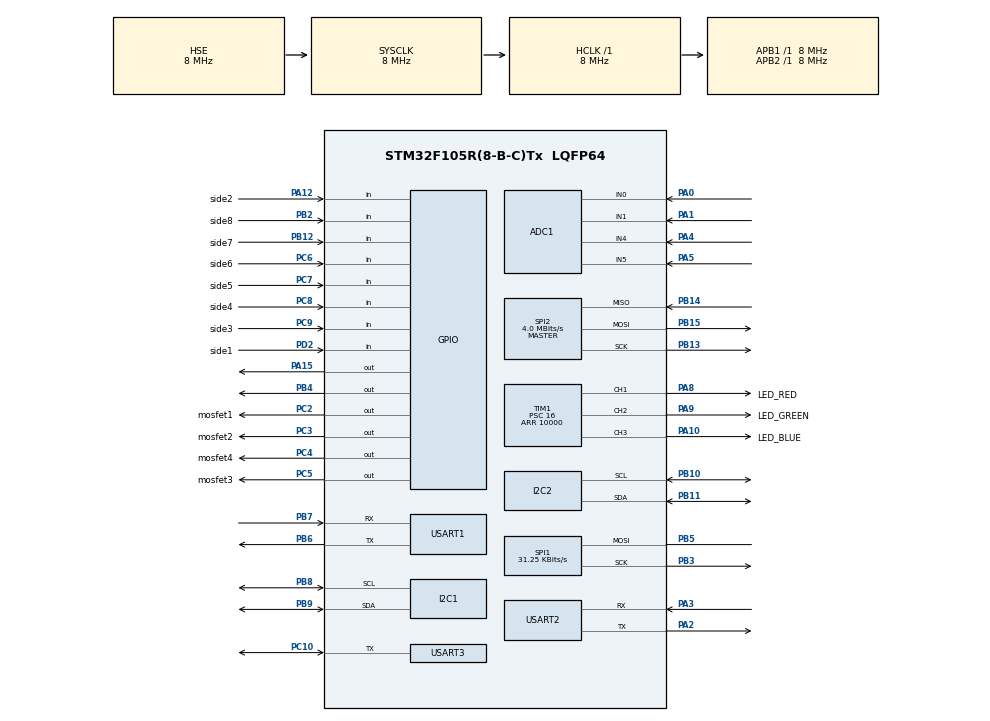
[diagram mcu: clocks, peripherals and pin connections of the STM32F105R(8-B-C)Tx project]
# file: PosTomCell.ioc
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Mcu.Family=STM32F1
NVIC.USART3_IRQn=true\:0\:0\:false\:false\:true\:true\:true
Dma.USART3_RX.0.PeriphInc=DMA_PINC_DISABLE
SPI1.VirtualType=VM_MASTER
SPI2.VirtualType=VM_MASTER
PB10.Mode=I2C
Dma.USART3_TX.1.MemInc=DMA_MINC_ENABLE
PC10.Signal=USART3_TX
Dma.USART3_TX.1.PeriphDataAlignment=DMA_PDATAALIGN_BYTE
PC6.GPIO_Label=side6
SH.SharedStack_PC6.0=GPIO_Input+0
SH.SharedStack_PC6.1=GPIO_Output
Dma.USART3_TX.1.Instance=DMA1_Channel2
PB11.Signal=I2C2_SDA
PB13.Signal=SPI2_SCK
PB15.Signal=SPI2_MOSI
RCC.SYSCLKSource=RCC_SYSCLKSOURCE_HSE
ProjectManager.StackSize=0x400
PD1-OSC_OUT.Signal=RCC_OSC_OUT
NVIC.DMA1_Channel3_IRQn=true\:0\:0\:false\:false\:true\:false\:true
PC7.Stacked=true
PA12.Signal=SharedStack_PA12
TIM1.Prescaler=16
SPI1.Direction=SPI_DIRECTION_1LINE
RCC.HCLKFreq_Value=8000000
RCC.APB2TimFreq_Value=8000000
TIM3.Period=200
PB6.Signal=USART1_TX
PC7.Signal=SharedStack_PC7
PB6.Mode=Asynchronous
SPI1.CalculateBaudRate=31.25 KBits/s
PC3.Signal=GPIO_Output
RCC.AHBFreq_Value=8000000
ADC1.Channel-0\#ChannelRegularConversion=ADC_CHANNEL_0
Dma.USART3_RX.0.MemDataAlignment=DMA_MDATAALIGN_BYTE
PB2.Signal=SharedStack_PB2
PB3.Mode=Simplex_Bidirectional_Master
Dma.USART3_TX.1.Mode=DMA_NORMAL
PC8.Stacked=true
PB12.GPIO_Label=side7
SH.SharedStack_PB12.0=GPIO_Input+0
SH.SharedStack_PB12.1=GPIO_Output
PC4.GPIO_Label=mosfet4
TIM1.Channel-PWM\ Generation1\ CH1=TIM_CHANNEL_1
SH.SharedStack_PB2.0=GPIO_Input+0
PA14.Mode=Serial_Wire
PB14.Mode=Full_Duplex_Master
SH.SharedStack_PB2.1=GPIO_Output
TIM3.Prescaler=16000
PB5.Mode=Simplex_Bidirectional_Master
NVIC.TIM2_IRQn=true\:0\:0\:false\:false\:true\:true\:true
SPI1.DataSize=SPI_DATASIZE_8BIT
PA10.GPIO_Label=LED_BLUE
Dma.USART3_RX.0.PeriphDataAlignment=DMA_PDATAALIGN_BYTE
SPI2.CalculateBaudRate=4.0 MBits/s
PB7.Signal=USART1_RX
PA8.Signal=S_TIM1_CH1
SH.ADCx_IN0.0=ADC1_IN0,IN0
PA15.GPIO_ModeDefaultOutputPP=GPIO_MODE_OUTPUT_OD
PB2.GPIO_PuPd=GPIO_NOPULL
VP_TIM1_VS_ClockSourceINT.Mode=Internal
ADC1.SamplingTime-0\#ChannelRegularConversion=ADC_SAMPLETIME_1CYCLE_5
Dma.USART3_TX.1.Priority=DMA_PRIORITY_LOW
Dma.USART3_RX.0.Direction=DMA_PERIPH_TO_MEMORY
Mcu.Package=LQFP64
PB9.Signal=I2C1_SDA
TIM2.Prescaler=8000
SPI2.Mode=SPI_MODE_MASTER
USART2.VirtualMode=VM_ASYNC
PA10.Signal=S_TIM1_CH3
PA15.Signal=GPIO_Output
Dma.USART3_RX.0.MemInc=DMA_MINC_ENABLE
TIM2.TIM_MasterOutputTrigger=TIM_TRGO_RESET
SH.ADCx_IN1.0=ADC1_IN1,IN1
Dma.Request1=USART3_TX
RCC.APB1TimFreq_Value=8000000
SPI2.Direction=SPI_DIRECTION_2LINES
PC5.Signal=GPIO_Output
TIM1.Period=10000
PB13.Mode=Full_Duplex_Master
Dma.USART3_TX.1.PeriphInc=DMA_PINC_DISABLE
Dma.Request0=USART3_RX
SPI1.BaudRatePrescaler=SPI_BAUDRATEPRESCALER_256
PB2.GPIO_ModeDefaultOutputPP=GPIO_MODE_OUTPUT_OD
PC2.GPIO_Label=mosfet1
VP_TIM3_VS_ClockSourceINT.Mode=Internal
SH.SharedStack_PA12.1=GPIO_Output
PB4.Signal=GPIO_Output
SH.SharedStack_PA12.0=GPIO_Input+0
PA3.Signal=USART2_RX
Dma.USART3_RX.0.Instance=DMA1_Channel3
RCC.PLLSourceVirtual=RCC_PLLSOURCE_HSE
Dma.USART3_TX.1.MemDataAlignment=DMA_MDATAALIGN_BYTE
PC6.Stacked=true
ADC1.Rank-0\#ChannelRegularConversion=1
PD1-OSC_OUT.Mode=HSE-External-Oscillator
PC9.GPIO_Label=side3
PA9.GPIO_Label=LED_GREEN
PC8.Signal=SharedStack_PC8
PC2.Signal=GPIO_Output
PC4.Signal=GPIO_Output
PC6.Signal=SharedStack_PC6
PC10.Mode=Half_duplex(single_wire_mode)
PD0-OSC_IN.Signal=RCC_OSC_IN
PA12.GPIO_Label=side2
PD2.Stacked=true
PC9.Stacked=true
Dma.USART3_RX.0.Mode=DMA_NORMAL
PA0-WKUP.Signal=ADCx_IN0
PC8.GPIO_Label=side4
PA3.Mode=Asynchronous
PA13.Signal=SYS_JTMS-SWDIO
PA8.GPIO_Label=LED_RED
SH.S_TIM1_CH1.0=TIM1_CH1,PWM Generation1 CH1
SH.SharedStack_PD2.0=GPIO_Input+0
PB11.Mode=I2C
NVIC.DMA1_Channel2_IRQn=true\:0\:0\:false\:false\:true\:false\:true
ProjectManager.TargetToolchain=STM32CubeIDE
SH.SharedStack_PD2.1=GPIO_Output
PB9.Mode=I2C
PA9.Signal=S_TIM1_CH2
TIM1.Channel-PWM\ Generation2\ CH2=TIM_CHANNEL_2
SH.SharedStack_PC9.0=GPIO_Input+0
RCC.USBFreq_Value=21333333.333333332
SH.SharedStack_PC9.1=GPIO_Output
PA1.Signal=ADCx_IN1
PD0-OSC_IN.Mode=HSE-External-Oscillator
PB10.Signal=I2C2_SCL
PB14.Signal=SPI2_MISO
PA5.Signal=ADCx_IN5
board=custom
PA12.Stacked=true
PB15.Mode=Full_Duplex_Master
NVIC.TIM3_IRQn=true\:0\:0\:false\:false\:true\:true\:true
USART3.WordLength=WORDLENGTH_9B
PA15.PinState=GPIO_PIN_SET
RCC.APB2Freq_Value=8000000
SH.S_TIM1_CH2.0=TIM1_CH2,PWM Generation2 CH2
VP_TIM2_VS_ClockSourceINT.Mode=Internal
SPI1.Mode=SPI_MODE_MASTER
SH.ADCx_IN4.0=ADC1_IN4,IN4
TIM2.Period=1000
SH.SharedStack_PC8.0=GPIO_Input+0
SH.SharedStack_PC8.1=GPIO_Output
PA13.Mode=Serial_Wire
Mcu.Name=STM32F105R(8-B-C)Tx
PA2.Signal=USART2_TX
PC7.GPIO_Label=side5
PB3.Signal=SPI1_SCK
PA4.Signal=ADCx_IN4
RCC.SYSCLKFreq_VALUE=8000000
PB5.Signal=SPI1_MOSI
Dma.USART3_RX.0.Priority=DMA_PRIORITY_LOW
ADC1.master=1
PC5.GPIO_Label=mosfet3
USART3.VirtualMode=VM_ASYNC
USART1.VirtualMode=VM_ASYNC
PA15.GPIO_Speed=GPIO_SPEED_FREQ_MEDIUM
PB7.Mode=Asynchronous
PB2.Stacked=true
PA14.Signal=SYS_JTCK-SWCLK
PB2.GPIO_Label=side8
ProjectManager.HeapSize=0x200
SH.S_TIM1_CH3.0=TIM1_CH3,PWM Generation3 CH3
PB12.Stacked=true
SH.ADCx_IN5.0=ADC1_IN5,IN5
NVIC.PriorityGroup=NVIC_PRIORITYGROUP_4
ADC1.NbrOfConversionFlag=1
Dma.USART3_TX.1.Direction=DMA_MEMORY_TO_PERIPH
PB8.Mode=I2C
PA2.Mode=Asynchronous
PB8.Signal=I2C1_SCL
PC3.GPIO_Label=mosfet2
SH.SharedStack_PC7.1=GPIO_Output
PC9.Signal=SharedStack_PC9
TIM1.Channel-PWM\ Generation3\ CH3=TIM_CHANNEL_3
SH.SharedStack_PC7.0=GPIO_Input+0
PD2.Signal=SharedStack_PD2
RCC.APB1Freq_Value=8000000
PB12.Signal=SharedStack_PB12
PD2.GPIO_Label=side1
USART3.Parity=PARITY_ODD

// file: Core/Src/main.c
/* USER CODE BEGIN Header */
/**
 ******************************************************************************
 * @file           : main.c
 * @brief          : Main program body
 ******************************************************************************
 * @attention
 *
 * <h2><center>&copy; Copyright (c) 2020 STMicroelectronics.
 * All rights reserved.</center></h2>
 *
 * This software component is licensed by ST under BSD 3-Clause license,
 * the "License"; You may not use this file except in compliance with the
 * License. You may obtain a copy of the License at:
 *                        opensource.org/licenses/BSD-3-Clause
 *
 ******************************************************************************
 */
/* USER CODE END Header */
#include "main.h"

/* USER CODE BEGIN Includes */
#include "ledOutput.h"
#include "processProtocolSW.h"
/* USER CODE END Includes */

/* USER CODE BEGIN PD */
#define BUFSIZE 12 //8 for address, 2 for cmd, 2 for param
#define CELLNUMB 1
/* USER CODE END PD */

ADC_HandleTypeDef hadc1;

I2C_HandleTypeDef hi2c1;
I2C_HandleTypeDef hi2c2;

SPI_HandleTypeDef hspi1;
SPI_HandleTypeDef hspi2;

TIM_HandleTypeDef htim1;
TIM_HandleTypeDef htim2;
TIM_HandleTypeDef htim3;

UART_HandleTypeDef huart1;
UART_HandleTypeDef huart2;
UART_HandleTypeDef huart3;
DMA_HandleTypeDef hdma_usart3_rx;
DMA_HandleTypeDef hdma_usart3_tx;

/* USER CODE BEGIN PV */
uint8_t tx_buff[BUFSIZE];
uint8_t rx_buff[BUFSIZE] = { 0, };

uint8_t cell_numb;

#if CELLNUMB == 1
	uint8_t address[8] = { 0xf0, 0xfc, 0xfb, 0xff, 0x12, 0xff, 0x33, 0xff };
	uint8_t sideAmount = 4;
	uint16_t sidePins[4] = {	side1_Pin,
								side2_Pin,
								side3_Pin,
								side4_Pin };
	GPIO_TypeDef* sidePorts[4] = { 	side1_GPIO_Port,
									side2_GPIO_Port,
									side3_GPIO_Port,
									side4_GPIO_Port };
	uint8_t sideconnections[4][8];
#elif CELLNUMB == 2
	uint8_t address[8] = { 0xff, 0xff, 0xaa, 0xff, 0xaa, 0xff, 0xaa, 0xff };
	uint8_t sideAmount = 6;
	uint16_t sidePins[6] = {	side1_Pin,
								side2_Pin,
								side3_Pin,
								side4_Pin,
								side5_Pin,
								side6_Pin};
	GPIO_TypeDef* sidePorts[6] = {	side1_GPIO_Port,
									side2_GPIO_Port,
									side3_GPIO_Port,
									side4_GPIO_Port,
									side5_GPIO_Port,
									side6_GPIO_Port};
	uint8_t sideconnections[6][8];
#elif CELLNUMB == 3
	uint8_t address[8] = { 0xff, 0xbf, 0xfa, 0x00, 0x00, 0xab, 0x00, 0xff };
	uint8_t sideAmount = 8;
	uint16_t sidePins[8] = {	side1_Pin,
								side2_Pin,
								side3_Pin,
								side4_Pin,
								side5_Pin,
								side7_Pin,
								side6_Pin,
								side8_Pin};
	GPIO_TypeDef* sidePorts[8] = {	side1_GPIO_Port,
									side2_GPIO_Port,
									side3_GPIO_Port,
									side4_GPIO_Port,
									side5_GPIO_Port,
									side7_GPIO_Port,
									side6_GPIO_Port,
									side8_GPIO_Port};
	uint8_t sideconnections[8][8];
#else
	uint8_t address[8] = { 0x00, 0x00, 0x00, 0x00, 0x00, 0x00, 0x00, 0x00 };
	uint8_t sideAmount = 1;
	uint16_t sidePins[1];
	uint16_t sidePorts[1];
	uint8_t sideconnections[1][8];
#endif
uint8_t activeNAddr[8];
uint16_t task = 0;
uint8_t reading_pin_nmb = 0;
uint8_t writing_pin_nmb = 0;
uint8_t write_read_side_flag = 0;
uint8_t tempData[2];
union {
	float f;
	uint8_t array[4];
} temp;

/* USER CODE END PV */

void SystemClock_Config(void);
static void MX_GPIO_Init(void);
static void MX_DMA_Init(void);
static void MX_I2C1_Init(void);
static void MX_I2C2_Init(void);
static void MX_SPI1_Init(void);
static void MX_SPI2_Init(void);
static void MX_TIM3_Init(void);
static void MX_USART1_UART_Init(void);
static void MX_USART2_UART_Init(void);
static void MX_ADC1_Init(void);
static void MX_TIM1_Init(void);
static void MX_TIM2_Init(void);
static void MX_USART3_UART_Init(void);

int main(void)
{

  /* MCU Configuration--------------------------------------------------------*/

  /* Reset of all peripherals, Initializes the Flash interface and the Systick. */
  HAL_Init();

  /* Configure the system clock */
  SystemClock_Config();

  /* Initialize all configured peripherals */
  MX_GPIO_Init();
  MX_DMA_Init();
  MX_I2C1_Init();
  MX_I2C2_Init();
  MX_SPI1_Init();
  MX_SPI2_Init();
  MX_TIM3_Init();
  MX_USART1_UART_Init();
  MX_USART2_UART_Init();
  MX_ADC1_Init();
  MX_TIM1_Init();
  MX_TIM2_Init();
  MX_USART3_UART_Init();
  /* USER CODE BEGIN 2 */
	HAL_TIM_PWM_Start(&htim1, TIM_CHANNEL_1);
	HAL_TIM_PWM_Start(&htim1, TIM_CHANNEL_2);
	HAL_TIM_PWM_Start(&htim1, TIM_CHANNEL_3);
	TIM1->CCR1 = 0;
	TIM1->CCR2 = 0;
	TIM1->CCR3 = 0;

	HAL_TIM_Base_Start_IT(&htim2);
  /* USER CODE END 2 */

  /* Infinite loop */
  /* USER CODE BEGIN WHILE */

	HAL_GPIO_WritePin(GPIOB, GPIO_PIN_4, 1);
	longBlinkPurple();

	HAL_HalfDuplex_EnableReceiver(&huart3);
	if (HAL_UART_Receive_DMA(&huart3, rx_buff, BUFSIZE) == !HAL_OK) {
		Error_Handler();
	}

	while (1) {

    /* USER CODE END WHILE */

	}
}

void SystemClock_Config(void)
{
  RCC_OscInitTypeDef RCC_OscInitStruct = {0};
  RCC_ClkInitTypeDef RCC_ClkInitStruct = {0};
  RCC_PeriphCLKInitTypeDef PeriphClkInit = {0};

  /** Initializes the RCC Oscillators according to the specified parameters
  * in the RCC_OscInitTypeDef structure.
  */
  RCC_OscInitStruct.OscillatorType = RCC_OSCILLATORTYPE_HSE;
  RCC_OscInitStruct.HSEState = RCC_HSE_ON;
  RCC_OscInitStruct.PLL.PLLState = RCC_PLL_NONE;
  RCC_OscInitStruct.PLL2.PLL2State = RCC_PLL_NONE;
  if (HAL_RCC_OscConfig(&RCC_OscInitStruct) != HAL_OK)
  {
    Error_Handler();
  }
  /** Initializes the CPU, AHB and APB buses clocks
  */
  RCC_ClkInitStruct.ClockType = RCC_CLOCKTYPE_HCLK|RCC_CLOCKTYPE_SYSCLK
                              |RCC_CLOCKTYPE_PCLK1|RCC_CLOCKTYPE_PCLK2;
  RCC_ClkInitStruct.SYSCLKSource = RCC_SYSCLKSOURCE_HSE;
  RCC_ClkInitStruct.AHBCLKDivider = RCC_SYSCLK_DIV1;
  RCC_ClkInitStruct.APB1CLKDivider = RCC_HCLK_DIV1;
  RCC_ClkInitStruct.APB2CLKDivider = RCC_HCLK_DIV1;

  if (HAL_RCC_ClockConfig(&RCC_ClkInitStruct, FLASH_LATENCY_0) != HAL_OK)
  {
    Error_Handler();
  }
  PeriphClkInit.PeriphClockSelection = RCC_PERIPHCLK_ADC;
  PeriphClkInit.AdcClockSelection = RCC_ADCPCLK2_DIV2;
  if (HAL_RCCEx_PeriphCLKConfig(&PeriphClkInit) != HAL_OK)
  {
    Error_Handler();
  }
  /** Configure the Systick interrupt time
  */
  __HAL_RCC_PLLI2S_ENABLE();
}

static void MX_ADC1_Init(void)
{

  ADC_ChannelConfTypeDef sConfig = {0};

  /** Common config
  */
  hadc1.Instance = ADC1;
  hadc1.Init.ScanConvMode = ADC_SCAN_DISABLE;
  hadc1.Init.ContinuousConvMode = DISABLE;
  hadc1.Init.DiscontinuousConvMode = DISABLE;
  hadc1.Init.ExternalTrigConv = ADC_SOFTWARE_START;
  hadc1.Init.DataAlign = ADC_DATAALIGN_RIGHT;
  hadc1.Init.NbrOfConversion = 1;
  if (HAL_ADC_Init(&hadc1) != HAL_OK)
  {
    Error_Handler();
  }
  /** Configure Regular Channel
  */
  sConfig.Channel = ADC_CHANNEL_0;
  sConfig.Rank = ADC_REGULAR_RANK_1;
  sConfig.SamplingTime = ADC_SAMPLETIME_1CYCLE_5;
  if (HAL_ADC_ConfigChannel(&hadc1, &sConfig) != HAL_OK)
  {
    Error_Handler();
  }

}

static void MX_I2C1_Init(void)
{

  hi2c1.Instance = I2C1;
  hi2c1.Init.ClockSpeed = 100000;
  hi2c1.Init.DutyCycle = I2C_DUTYCYCLE_2;
  hi2c1.Init.OwnAddress1 = 0;
  hi2c1.Init.AddressingMode = I2C_ADDRESSINGMODE_7BIT;
  hi2c1.Init.DualAddressMode = I2C_DUALADDRESS_DISABLE;
  hi2c1.Init.OwnAddress2 = 0;
  hi2c1.Init.GeneralCallMode = I2C_GENERALCALL_DISABLE;
  hi2c1.Init.NoStretchMode = I2C_NOSTRETCH_DISABLE;
  if (HAL_I2C_Init(&hi2c1) != HAL_OK)
  {
    Error_Handler();
  }

}

static void MX_I2C2_Init(void)
{

  hi2c2.Instance = I2C2;
  hi2c2.Init.ClockSpeed = 100000;
  hi2c2.Init.DutyCycle = I2C_DUTYCYCLE_2;
  hi2c2.Init.OwnAddress1 = 0;
  hi2c2.Init.AddressingMode = I2C_ADDRESSINGMODE_7BIT;
  hi2c2.Init.DualAddressMode = I2C_DUALADDRESS_DISABLE;
  hi2c2.Init.OwnAddress2 = 0;
  hi2c2.Init.GeneralCallMode = I2C_GENERALCALL_DISABLE;
  hi2c2.Init.NoStretchMode = I2C_NOSTRETCH_DISABLE;
  if (HAL_I2C_Init(&hi2c2) != HAL_OK)
  {
    Error_Handler();
  }

}

static void MX_SPI1_Init(void)
{

  /* SPI1 parameter configuration*/
  hspi1.Instance = SPI1;
  hspi1.Init.Mode = SPI_MODE_MASTER;
  hspi1.Init.Direction = SPI_DIRECTION_1LINE;
  hspi1.Init.DataSize = SPI_DATASIZE_8BIT;
  hspi1.Init.CLKPolarity = SPI_POLARITY_LOW;
  hspi1.Init.CLKPhase = SPI_PHASE_1EDGE;
  hspi1.Init.NSS = SPI_NSS_SOFT;
  hspi1.Init.BaudRatePrescaler = SPI_BAUDRATEPRESCALER_256;
  hspi1.Init.FirstBit = SPI_FIRSTBIT_MSB;
  hspi1.Init.TIMode = SPI_TIMODE_DISABLE;
  hspi1.Init.CRCCalculation = SPI_CRCCALCULATION_DISABLE;
  hspi1.Init.CRCPolynomial = 10;
  if (HAL_SPI_Init(&hspi1) != HAL_OK)
  {
    Error_Handler();
  }

}

static void MX_SPI2_Init(void)
{

  /* SPI2 parameter configuration*/
  hspi2.Instance = SPI2;
  hspi2.Init.Mode = SPI_MODE_MASTER;
  hspi2.Init.Direction = SPI_DIRECTION_2LINES;
  hspi2.Init.DataSize = SPI_DATASIZE_8BIT;
  hspi2.Init.CLKPolarity = SPI_POLARITY_LOW;
  hspi2.Init.CLKPhase = SPI_PHASE_1EDGE;
  hspi2.Init.NSS = SPI_NSS_SOFT;
  hspi2.Init.BaudRatePrescaler = SPI_BAUDRATEPRESCALER_2;
  hspi2.Init.FirstBit = SPI_FIRSTBIT_MSB;
  hspi2.Init.TIMode = SPI_TIMODE_DISABLE;
  hspi2.Init.CRCCalculation = SPI_CRCCALCULATION_DISABLE;
  hspi2.Init.CRCPolynomial = 10;
  if (HAL_SPI_Init(&hspi2) != HAL_OK)
  {
    Error_Handler();
  }

}

static void MX_TIM1_Init(void)
{

  TIM_ClockConfigTypeDef sClockSourceConfig = {0};
  TIM_MasterConfigTypeDef sMasterConfig = {0};
  TIM_OC_InitTypeDef sConfigOC = {0};
  TIM_BreakDeadTimeConfigTypeDef sBreakDeadTimeConfig = {0};

  htim1.Instance = TIM1;
  htim1.Init.Prescaler = 16;
  htim1.Init.CounterMode = TIM_COUNTERMODE_UP;
  htim1.Init.Period = 10000;
  htim1.Init.ClockDivision = TIM_CLOCKDIVISION_DIV1;
  htim1.Init.RepetitionCounter = 0;
  htim1.Init.AutoReloadPreload = TIM_AUTORELOAD_PRELOAD_DISABLE;
  if (HAL_TIM_Base_Init(&htim1) != HAL_OK)
  {
    Error_Handler();
  }
  sClockSourceConfig.ClockSource = TIM_CLOCKSOURCE_INTERNAL;
  if (HAL_TIM_ConfigClockSource(&htim1, &sClockSourceConfig) != HAL_OK)
  {
    Error_Handler();
  }
  if (HAL_TIM_PWM_Init(&htim1) != HAL_OK)
  {
    Error_Handler();
  }
  sMasterConfig.MasterOutputTrigger = TIM_TRGO_RESET;
  sMasterConfig.MasterSlaveMode = TIM_MASTERSLAVEMODE_DISABLE;
  if (HAL_TIMEx_MasterConfigSynchronization(&htim1, &sMasterConfig) != HAL_OK)
  {
    Error_Handler();
  }
  sConfigOC.OCMode = TIM_OCMODE_PWM1;
  sConfigOC.Pulse = 0;
  sConfigOC.OCPolarity = TIM_OCPOLARITY_HIGH;
  sConfigOC.OCNPolarity = TIM_OCNPOLARITY_HIGH;
  sConfigOC.OCFastMode = TIM_OCFAST_DISABLE;
  sConfigOC.OCIdleState = TIM_OCIDLESTATE_RESET;
  sConfigOC.OCNIdleState = TIM_OCNIDLESTATE_RESET;
  if (HAL_TIM_PWM_ConfigChannel(&htim1, &sConfigOC, TIM_CHANNEL_1) != HAL_OK)
  {
    Error_Handler();
  }
  if (HAL_TIM_PWM_ConfigChannel(&htim1, &sConfigOC, TIM_CHANNEL_2) != HAL_OK)
  {
    Error_Handler();
  }
  if (HAL_TIM_PWM_ConfigChannel(&htim1, &sConfigOC, TIM_CHANNEL_3) != HAL_OK)
  {
    Error_Handler();
  }
  sBreakDeadTimeConfig.OffStateRunMode = TIM_OSSR_DISABLE;
  sBreakDeadTimeConfig.OffStateIDLEMode = TIM_OSSI_DISABLE;
  sBreakDeadTimeConfig.LockLevel = TIM_LOCKLEVEL_OFF;
  sBreakDeadTimeConfig.DeadTime = 0;
  sBreakDeadTimeConfig.BreakState = TIM_BREAK_DISABLE;
  sBreakDeadTimeConfig.BreakPolarity = TIM_BREAKPOLARITY_HIGH;
  sBreakDeadTimeConfig.AutomaticOutput = TIM_AUTOMATICOUTPUT_DISABLE;
  if (HAL_TIMEx_ConfigBreakDeadTime(&htim1, &sBreakDeadTimeConfig) != HAL_OK)
  {
    Error_Handler();
  }
  HAL_TIM_MspPostInit(&htim1);

}

static void MX_TIM2_Init(void)
{

  TIM_ClockConfigTypeDef sClockSourceConfig = {0};
  TIM_MasterConfigTypeDef sMasterConfig = {0};

  htim2.Instance = TIM2;
  htim2.Init.Prescaler = 8000;
  htim2.Init.CounterMode = TIM_COUNTERMODE_UP;
  htim2.Init.Period = 1000;
  htim2.Init.ClockDivision = TIM_CLOCKDIVISION_DIV1;
  htim2.Init.AutoReloadPreload = TIM_AUTORELOAD_PRELOAD_DISABLE;
  if (HAL_TIM_Base_Init(&htim2) != HAL_OK)
  {
    Error_Handler();
  }
  sClockSourceConfig.ClockSource = TIM_CLOCKSOURCE_INTERNAL;
  if (HAL_TIM_ConfigClockSource(&htim2, &sClockSourceConfig) != HAL_OK)
  {
    Error_Handler();
  }
  sMasterConfig.MasterOutputTrigger = TIM_TRGO_RESET;
  sMasterConfig.MasterSlaveMode = TIM_MASTERSLAVEMODE_DISABLE;
  if (HAL_TIMEx_MasterConfigSynchronization(&htim2, &sMasterConfig) != HAL_OK)
  {
    Error_Handler();
  }

}

static void MX_TIM3_Init(void)
{

  TIM_ClockConfigTypeDef sClockSourceConfig = {0};
  TIM_MasterConfigTypeDef sMasterConfig = {0};

  htim3.Instance = TIM3;
  htim3.Init.Prescaler = 16000;
  htim3.Init.CounterMode = TIM_COUNTERMODE_UP;
  htim3.Init.Period = 200;
  htim3.Init.ClockDivision = TIM_CLOCKDIVISION_DIV1;
  htim3.Init.AutoReloadPreload = TIM_AUTORELOAD_PRELOAD_DISABLE;
  if (HAL_TIM_Base_Init(&htim3) != HAL_OK)
  {
    Error_Handler();
  }
  sClockSourceConfig.ClockSource = TIM_CLOCKSOURCE_INTERNAL;
  if (HAL_TIM_ConfigClockSource(&htim3, &sClockSourceConfig) != HAL_OK)
  {
    Error_Handler();
  }
  sMasterConfig.MasterOutputTrigger = TIM_TRGO_RESET;
  sMasterConfig.MasterSlaveMode = TIM_MASTERSLAVEMODE_DISABLE;
  if (HAL_TIMEx_MasterConfigSynchronization(&htim3, &sMasterConfig) != HAL_OK)
  {
    Error_Handler();
  }

}

static void MX_USART1_UART_Init(void)
{

  huart1.Instance = USART1;
  huart1.Init.BaudRate = 115200;
  huart1.Init.WordLength = UART_WORDLENGTH_8B;
  huart1.Init.StopBits = UART_STOPBITS_1;
  huart1.Init.Parity = UART_PARITY_NONE;
  huart1.Init.Mode = UART_MODE_TX_RX;
  huart1.Init.HwFlowCtl = UART_HWCONTROL_NONE;
  huart1.Init.OverSampling = UART_OVERSAMPLING_16;
  if (HAL_UART_Init(&huart1) != HAL_OK)
  {
    Error_Handler();
  }

}

static void MX_USART2_UART_Init(void)
{

  huart2.Instance = USART2;
  huart2.Init.BaudRate = 115200;
  huart2.Init.WordLength = UART_WORDLENGTH_8B;
  huart2.Init.StopBits = UART_STOPBITS_1;
  huart2.Init.Parity = UART_PARITY_NONE;
  huart2.Init.Mode = UART_MODE_TX_RX;
  huart2.Init.HwFlowCtl = UART_HWCONTROL_NONE;
  huart2.Init.OverSampling = UART_OVERSAMPLING_16;
  if (HAL_UART_Init(&huart2) != HAL_OK)
  {
    Error_Handler();
  }

}

static void MX_USART3_UART_Init(void)
{

  huart3.Instance = USART3;
  huart3.Init.BaudRate = 115200;
  huart3.Init.WordLength = UART_WORDLENGTH_9B;
  huart3.Init.StopBits = UART_STOPBITS_1;
  huart3.Init.Parity = UART_PARITY_ODD;
  huart3.Init.Mode = UART_MODE_TX_RX;
  huart3.Init.HwFlowCtl = UART_HWCONTROL_NONE;
  huart3.Init.OverSampling = UART_OVERSAMPLING_16;
  if (HAL_HalfDuplex_Init(&huart3) != HAL_OK)
  {
    Error_Handler();
  }
  /* USER CODE BEGIN USART3_Init 2 */
	HAL_NVIC_EnableIRQ(USART3_IRQn);
  /* USER CODE END USART3_Init 2 */

}

static void MX_DMA_Init(void)
{

  /* DMA controller clock enable */
  __HAL_RCC_DMA1_CLK_ENABLE();

  /* DMA interrupt init */
  /* DMA1_Channel2_IRQn interrupt configuration */
  HAL_NVIC_SetPriority(DMA1_Channel2_IRQn, 0, 0);
  HAL_NVIC_EnableIRQ(DMA1_Channel2_IRQn);
  /* DMA1_Channel3_IRQn interrupt configuration */
  HAL_NVIC_SetPriority(DMA1_Channel3_IRQn, 0, 0);
  HAL_NVIC_EnableIRQ(DMA1_Channel3_IRQn);

}

static void MX_GPIO_Init(void)
{
  GPIO_InitTypeDef GPIO_InitStruct = {0};

  /* GPIO Ports Clock Enable */
  __HAL_RCC_GPIOD_CLK_ENABLE();
  __HAL_RCC_GPIOC_CLK_ENABLE();
  __HAL_RCC_GPIOA_CLK_ENABLE();
  __HAL_RCC_GPIOB_CLK_ENABLE();

  /*Configure GPIO pin Output Level */
  HAL_GPIO_WritePin(GPIOC, mosfet1_Pin|mosfet2_Pin|mosfet4_Pin|mosfet3_Pin, GPIO_PIN_RESET);

  /*Configure GPIO pin Output Level */
  HAL_GPIO_WritePin(GPIOA, GPIO_PIN_15, GPIO_PIN_SET);

  /*Configure GPIO pin Output Level */
  HAL_GPIO_WritePin(GPIOB, GPIO_PIN_4, GPIO_PIN_RESET);

  /*Configure GPIO pins : mosfet1_Pin mosfet2_Pin mosfet4_Pin mosfet3_Pin */
  GPIO_InitStruct.Pin = mosfet1_Pin|mosfet2_Pin|mosfet4_Pin|mosfet3_Pin;
  GPIO_InitStruct.Mode = GPIO_MODE_OUTPUT_PP;
  GPIO_InitStruct.Pull = GPIO_NOPULL;
  GPIO_InitStruct.Speed = GPIO_SPEED_FREQ_LOW;
  HAL_GPIO_Init(GPIOC, &GPIO_InitStruct);

  /*Configure GPIO pin : PA15 */
  GPIO_InitStruct.Pin = GPIO_PIN_15;
  GPIO_InitStruct.Mode = GPIO_MODE_OUTPUT_OD;
  GPIO_InitStruct.Pull = GPIO_NOPULL;
  GPIO_InitStruct.Speed = GPIO_SPEED_FREQ_MEDIUM;
  HAL_GPIO_Init(GPIOA, &GPIO_InitStruct);

  /*Configure GPIO pin : PB4 */
  GPIO_InitStruct.Pin = GPIO_PIN_4;
  GPIO_InitStruct.Mode = GPIO_MODE_OUTPUT_PP;
  GPIO_InitStruct.Pull = GPIO_NOPULL;
  GPIO_InitStruct.Speed = GPIO_SPEED_FREQ_LOW;
  HAL_GPIO_Init(GPIOB, &GPIO_InitStruct);

}

/* USER CODE BEGIN 4 */

void changeSidesToRead() {
	GPIO_InitTypeDef GPIO_InitStruct = { 0 };

	GPIO_InitStruct.Pin = side1_Pin;
	GPIO_InitStruct.Mode = GPIO_MODE_INPUT;
	GPIO_InitStruct.Pull = GPIO_NOPULL;
	HAL_GPIO_Init(side1_GPIO_Port, &GPIO_InitStruct);

	GPIO_InitStruct.Pin = side2_Pin;
	GPIO_InitStruct.Mode = GPIO_MODE_INPUT;
	GPIO_InitStruct.Pull = GPIO_NOPULL;
	HAL_GPIO_Init(side2_GPIO_Port, &GPIO_InitStruct);

	GPIO_InitStruct.Pin = side6_Pin | side5_Pin | side4_Pin | side3_Pin;
	GPIO_InitStruct.Mode = GPIO_MODE_INPUT;
	GPIO_InitStruct.Pull = GPIO_NOPULL;
	HAL_GPIO_Init(GPIOC, &GPIO_InitStruct);

	GPIO_InitStruct.Pin = side8_Pin | side7_Pin;
	GPIO_InitStruct.Mode = GPIO_MODE_INPUT;
	GPIO_InitStruct.Pull = GPIO_NOPULL;
	HAL_GPIO_Init(GPIOB, &GPIO_InitStruct);

	write_read_side_flag = 0;
}

void changeSidesToWrite() {
	GPIO_InitTypeDef GPIO_InitStruct = { 0 };

	HAL_GPIO_WritePin(side1_GPIO_Port, side1_Pin, GPIO_PIN_RESET);
	HAL_GPIO_WritePin(side2_GPIO_Port, side2_Pin, GPIO_PIN_RESET);
	HAL_GPIO_WritePin(GPIOC, side6_Pin | side5_Pin | side4_Pin | side3_Pin, GPIO_PIN_RESET);
	HAL_GPIO_WritePin(GPIOB, side8_Pin | side7_Pin, GPIO_PIN_RESET);

	GPIO_InitStruct.Pin = side1_Pin;
	GPIO_InitStruct.Mode = GPIO_MODE_OUTPUT_PP;
	GPIO_InitStruct.Pull = GPIO_NOPULL;
	GPIO_InitStruct.Speed = GPIO_SPEED_FREQ_HIGH;
	HAL_GPIO_Init(side1_GPIO_Port, &GPIO_InitStruct);

	GPIO_InitStruct.Pin = side2_Pin;
	GPIO_InitStruct.Mode = GPIO_MODE_OUTPUT_PP;
	GPIO_InitStruct.Pull = GPIO_NOPULL;
	GPIO_InitStruct.Speed = GPIO_SPEED_FREQ_HIGH;
	HAL_GPIO_Init(side2_GPIO_Port, &GPIO_InitStruct);

	GPIO_InitStruct.Pin = side6_Pin | side5_Pin | side4_Pin | side3_Pin;
	GPIO_InitStruct.Mode = GPIO_MODE_OUTPUT_PP;
	GPIO_InitStruct.Pull = GPIO_NOPULL;
	GPIO_InitStruct.Speed = GPIO_SPEED_FREQ_HIGH;
	HAL_GPIO_Init(GPIOC, &GPIO_InitStruct);

	GPIO_InitStruct.Pin = side8_Pin | side7_Pin;
	GPIO_InitStruct.Mode = GPIO_MODE_OUTPUT_PP;
	GPIO_InitStruct.Pull = GPIO_NOPULL;
	GPIO_InitStruct.Speed = GPIO_SPEED_FREQ_LOW;
	HAL_GPIO_Init(GPIOB, &GPIO_InitStruct);

	write_read_side_flag = 1;
}

void HAL_UART_TxCpltCallback(UART_HandleTypeDef *huart) {
	if (huart == &huart3) {

		HAL_HalfDuplex_EnableReceiver(&huart3);
		if (HAL_UART_Receive_DMA(&huart3, rx_buff, BUFSIZE) == !HAL_OK) {
			shortBlinkRed();
		}
		task = 0;

		shortBlinkGreen();
	}

}

uint8_t activesearch = 1;
void HAL_UART_RxCpltCallback(UART_HandleTypeDef *huart) {
	if (huart == &huart3) {
		if (task == 0) {
			task = rx_buff[8] << 8 | rx_buff[9];
			if (compareAddr(rx_buff, address) || isAddrUniversal(rx_buff)) {
				if (task == 0x0001) { //address search
					uint8_t param = rx_buff[11];
					uint8_t prevBitParam = rx_buff[10];
					if (param == 0) {
						activesearch = 1;
					} else {
						uint8_t priviousBit = ((address[(param - 1) / 8]
								>> ((param - 1) % 8))) & 0x01;
						if (((prevBitParam & 0x01) != priviousBit)
								&& activesearch) {
							activesearch = 0;
						}
					}
					if (activesearch) {
						tx_buff[0] = (address[param / 8] >> (param % 8) & 0x01);
						tx_buff[1] = !(tx_buff[0]);
						for (int wait = 0; wait < 100; wait++)
							;
						HAL_GPIO_WritePin(GPIOA, GPIO_PIN_15, tx_buff[0]);
						for (int wait = 0; wait < 100; wait++)
							;
						HAL_GPIO_WritePin(GPIOA, GPIO_PIN_15, tx_buff[1]);
						for (int wait = 0; wait < 100; wait++)
							;
						HAL_GPIO_WritePin(GPIOA, GPIO_PIN_15, 1);
						for (int wait = 0; wait < 50; wait++)
							;
					} else {
						for (int wait = 0; wait < 400; wait++)
							;
					}

					HAL_HalfDuplex_EnableReceiver(&huart3);
					task = 0;
					if (HAL_UART_Receive_DMA(&huart3, rx_buff, BUFSIZE)
							== !HAL_OK) {
						shortBlinkPurple();
					}

					/*HAL_HalfDuplex_EnableTransmitter(&huart3);
					 HAL_UART_Transmit_DMA(&huart3, tx_buff, 2);*/
				}

				if (task == 0x0002) {
					shortBlinkGreen();
					HAL_GPIO_WritePin(GPIOB, GPIO_PIN_4, 0);
					HAL_SPI_Receive(&hspi1, tempData, 2, 500);
					HAL_GPIO_WritePin(GPIOB, GPIO_PIN_4, 1);
					temp.f = ((tempData[1] >> 3) | (tempData[0] << 5)) / 4.0f;
					uint8_t txarr[4];
					txarr[0] = temp.array[0];
					txarr[1] = temp.array[1];
					txarr[2] = temp.array[2];
					txarr[3] = temp.array[3];
					HAL_HalfDuplex_EnableTransmitter(&huart3);
					HAL_UART_Transmit_DMA(&huart3, txarr, BUFSIZE);
					return;
				}

				if (task == 0x0003) {
					/*satrt tougle pins in order by schedule*/
					for (int jj = 0; jj < 8; jj++) {
						activeNAddr[jj] = address[jj];
					}
					changeSidesToWrite();
					writing_pin_nmb = 0;
					TIM3->CNT = 100;
					//shortBlinkRed();
					HAL_TIM_Base_Start_IT(&htim3);
					return;
				}
			} else {
				if (task == 0x0003) {
					/*satrt read pins by schedule*/
					changeSidesToRead();
					reading_pin_nmb = 0;
					TIM3->CNT = 0;
					HAL_TIM_Base_Start_IT(&htim3);
					return;
				}
			}
			task = 0;
			HAL_HalfDuplex_EnableReceiver(&huart3);
			HAL_UART_Receive_DMA(&huart3, rx_buff, BUFSIZE);
		}
	}
	/* shortBlinkBlue();*/
}

void HAL_UART_ErrorCallback(UART_HandleTypeDef *huart) {
	/*TIM1->CCR2 = 1000;*/
	if (huart == &huart3) {

		if (task == 0) {
			if (HAL_UART_Receive_DMA(&huart3, rx_buff, BUFSIZE) == !HAL_OK) {
				shortBlinkPurple();
			}
		}
	}
}

void HAL_TIM_PeriodElapsedCallback(TIM_HandleTypeDef *htim) {
	if (htim == &htim2) {
		if (task == 0) {
			HAL_HalfDuplex_EnableReceiver(&huart3);
			if (HAL_UART_Receive_DMA(&huart3, rx_buff, BUFSIZE) == !HAL_OK) {
				shortBlinkPurple();
			}
		}
	}

	if (htim == &htim3) {
		if (task == 3) {
			if (write_read_side_flag == 0) {
				if (reading_pin_nmb < sideAmount) {
					TIM1->CCR1 = 2000 * (reading_pin_nmb % 2);
					for (int ii = 0; ii < sideAmount; ii++) {
						if (HAL_GPIO_ReadPin(sidePorts[ii], sidePins[ii])) {
							for (int jj = 0; jj < 8; jj++) {
								sideconnections[ii][jj] =
										activeNAddr[jj];
							}
							sideconnections[ii][8]=reading_pin_nmb;
						}
					}
				}
				reading_pin_nmb++;
				if (reading_pin_nmb > sideAmount) {
					HAL_TIM_Base_Stop_IT(&htim3);
					TIM1->CCR1 = 0;
					task = 0;
					HAL_HalfDuplex_EnableReceiver(&huart3);
					HAL_UART_Receive_DMA(&huart3, rx_buff, BUFSIZE);
				}
			}
			if (write_read_side_flag == 1) {
				TIM1->CCR3 = 2000 * (writing_pin_nmb % 2);
				for (int ii = 0; ii < sideAmount; ii++) {
					HAL_GPIO_WritePin(sidePorts[ii], sidePins[ii], RESET);
				}

				if (writing_pin_nmb < sideAmount) {
					HAL_GPIO_WritePin(sidePorts[writing_pin_nmb],
							sidePins[writing_pin_nmb], SET);
				}

				writing_pin_nmb++;
				if (writing_pin_nmb > sideAmount) {
					HAL_TIM_Base_Stop_IT(&htim3);
					TIM1->CCR3 = 0;
					task = 0;
					HAL_HalfDuplex_EnableReceiver(&huart3);
					HAL_UART_Receive_DMA(&huart3, rx_buff, BUFSIZE);
				}
			}
		}
	}
}

/* USER CODE END 4 */

void Error_Handler(void)
{
  /* USER CODE BEGIN Error_Handler_Debug */
	/* User can add his own implementation to report the HAL error return state */
	__disable_irq();
	NVIC_SystemReset();
	while (1) {

	}
  /* USER CODE END Error_Handler_Debug */
}

/************************ (C) COPYRIGHT STMicroelectronics *****END OF FILE****/
